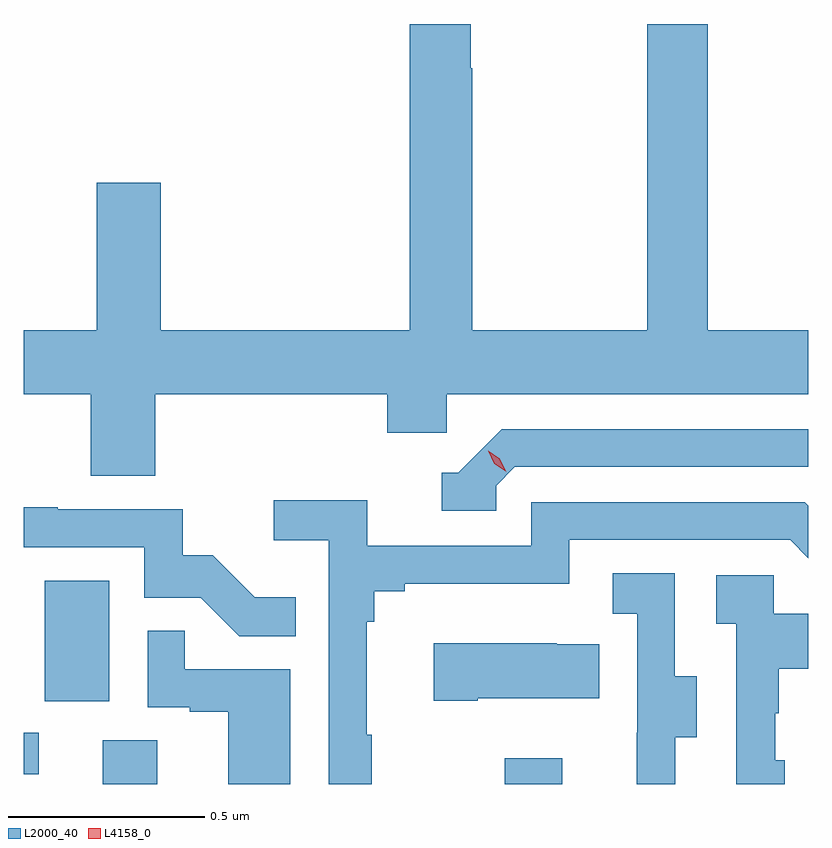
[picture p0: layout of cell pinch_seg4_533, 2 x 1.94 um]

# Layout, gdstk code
import gdstk
lib = gdstk.Library(unit=1e-6, precision=1e-09)
def R(c, l, rs):  # rectangles x0, y0, x1, y1
    for r in rs: c.add(gdstk.rectangle(r[:2], r[2:], *l))
def P(c, l, *ps):  # polygons
    for p in ps: c.add(gdstk.Polygon(p, *l))
L2000_40 = (2000, 40)
L4158_0 = (4158, 0)

pinch_seg4_533 = lib.new_cell('pinch_seg4_533')
R(pinch_seg4_533, L2000_40, [(1142.045,769.187,1142.185,769.298), (1143.07,769.187,1143.217,769.252), (1141.844,769.212,1141.882,769.317), (1141.898,769.398,1142.062,769.705)])
P(pinch_seg4_533, L2000_40, [(1142.18,770.18),(1142.771,770.18),(1142.771,770.082),(1142.922,770.082),(1142.922,770.18),(1143.844,770.18),(1143.844,770.344),(1143.588,770.344),(1143.588,771.124),(1143.433,771.124),(1143.433,770.344),(1142.988,770.344),(1142.988,771.011),(1142.983,771.011),(1142.983,771.124),(1142.828,771.124),(1142.828,770.344),(1142.194,770.344),(1142.194,770.719),(1142.03,770.719),(1142.03,770.344),(1141.844,770.344),(1141.844,770.18),(1142.015,770.18),(1142.015,769.972),(1142.18,769.972)],
  [(1143.048,769.947),(1143.096,769.995),(1143.844,769.995),(1143.844,770.091),(1143.063,770.091),(1142.952,769.98),(1142.909,769.98),(1142.909,769.884),(1143.048,769.884)],
  [(1142.731,769.313),(1142.719,769.313),(1142.719,769.601),(1142.738,769.601),(1142.738,769.678),(1142.815,769.678),(1142.815,769.697),(1143.234,769.697),(1143.234,769.809),(1143.798,769.809),(1143.844,769.763),(1143.844,769.896),(1143.835,769.905),(1143.138,769.905),(1143.138,769.794),(1142.72,769.794),(1142.72,769.91),(1142.481,769.91),(1142.481,769.808),(1142.622,769.808),(1142.622,769.187),(1142.731,769.187)],
  [(1142.537,769.663),(1142.433,769.663),(1142.326,769.77),(1142.25,769.77),(1142.25,769.887),(1141.931,769.887),(1141.931,769.892),(1141.844,769.892),(1141.844,769.791),(1142.151,769.791),(1142.151,769.662),(1142.295,769.662),(1142.393,769.564),(1142.537,769.564)],
  [(1143.505,769.306),(1143.559,769.306),(1143.559,769.461),(1143.504,769.461),(1143.504,769.724),(1143.345,769.724),(1143.345,769.621),(1143.408,769.621),(1143.408,769.317),(1143.407,769.317),(1143.407,769.187),(1143.505,769.187)],
  [(1143.784,769.248),(1143.759,769.248),(1143.759,769.367),(1143.769,769.367),(1143.769,769.481),(1143.844,769.481),(1143.844,769.621),(1143.756,769.621),(1143.756,769.719),(1143.609,769.719),(1143.609,769.595),(1143.66,769.595),(1143.66,769.187),(1143.784,769.187)],
  [(1142.524,769.479),(1142.255,769.479),(1142.255,769.577),(1142.16,769.577),(1142.16,769.383),(1142.267,769.383),(1142.267,769.371),(1142.366,769.371),(1142.366,769.187),(1142.524,769.187)],
  [(1143.001,769.406),(1143.311,769.406),(1143.311,769.543),(1143.203,769.543),(1143.203,769.546),(1142.889,769.546),(1142.889,769.399),(1143.001,769.399)])
P(pinch_seg4_533, L4158_0, [(1143.074,769.983),(1143.043,770.003),(1143.028,770.036),(1143.028,770.036),(1143.028,770.036),(1143.058,770.016),(1143.074,769.983),(1143.074,769.983)])

lib.write_gds('pinch_seg4_533.gds')
